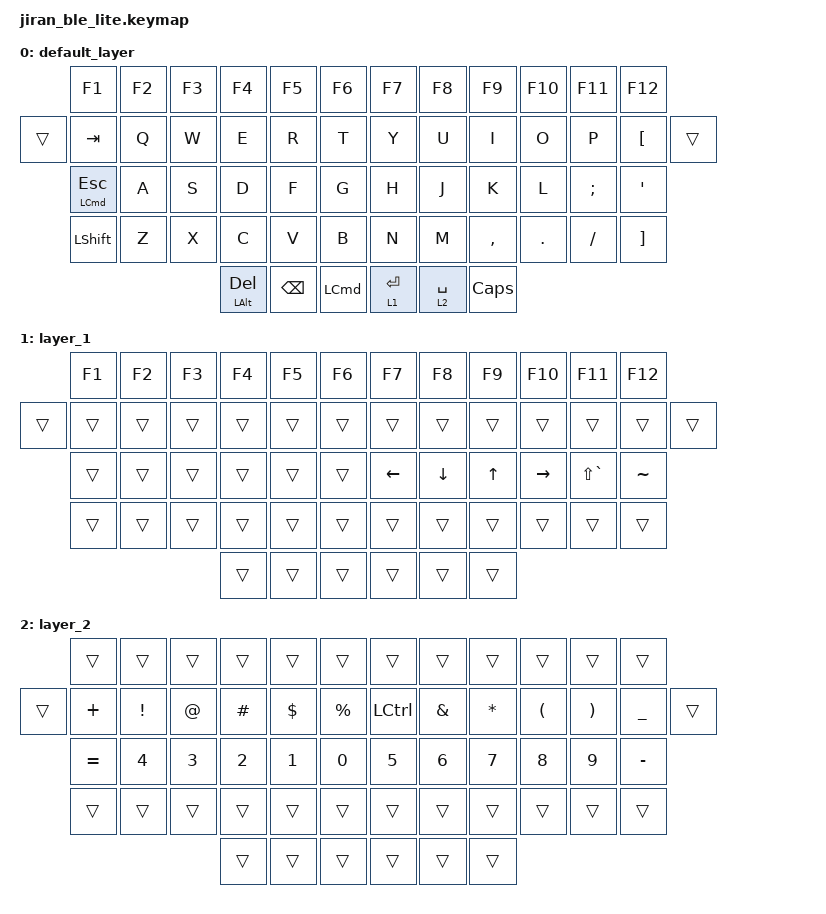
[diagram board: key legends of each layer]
/*
 * Copyright (c) 2021 The ZMK Contributors
 *
 * SPDX-License-Identifier: MIT
 */

#include <behaviors.dtsi>
#include <dt-bindings/zmk/keys.h>
#include <dt-bindings/zmk/bt.h>

/ {
    keymap {
        compatible = "zmk,keymap";

        default_layer {
            // -----------------------------------------------------------------------------------------
            // |  TAB |  Q  |  W  |  E  |  R  |  T  |   |  Y  |  U   |  I  |  O  |  P  | BKSP |
            // | CTRL |  A  |  S  |  D  |  F  |  G  |   |  H  |  J   |  K  |  L  |  ;  |  '   |
            // | SHFT |  Z  |  X  |  C  |  V  |  B  |   |  N  |  M   |  ,  |  .  |  /  | SHFT |
            //                    | GUI | LWR | SPC |   | ENT | RSE  | ALT |

            bindings = <
               &kp F1                &kp F2   &kp F3  &kp F4                &kp F5         &kp F6            &kp F7       &kp F8       &kp F9     &kp F10  &kp F11        &kp F12
        &trans &kp TAB               &kp Q    &kp W   &kp E                 &kp R          &kp T             &kp Y        &kp U        &kp I      &kp O    &kp P          &kp LBKT          &trans
               &mt LEFT_COMMAND ESC  &kp A    &kp S   &kp D                 &kp F          &kp G             &kp H        &kp J        &kp K      &kp L    &kp SEMICOLON  &kp SQT
               &kp LEFT_SHIFT        &kp Z    &kp X   &kp C                 &kp V          &kp B             &kp N        &kp M        &kp COMMA  &kp DOT  &kp FSLH       &kp RIGHT_BRACKET
                                                      &mt LEFT_ALT DELETE   &kp BACKSPACE  &kp LEFT_COMMAND  &lt 1 ENTER  &lt 2 SPACE  &kp CLCK
            >;
        };

        layer_1 {
            // -----------------------------------------------------------------------------------------
            // |  ESC |  1  |  2  |  3  |  4  |  5  |   |  6  |  7  |  8  |  9  |  0  | BKSP |
            // | BTCLR| BT1 | BT2 | BT3 | BT4 | BT5 |   | LFT | DWN |  UP | RGT |     |      |
            // | SHFT |     |     |     |     |     |   |     |     |     |     |     |      |
            //                    | GUI |     | SPC |   | ENT |     | ALT |

            bindings = <
            &kp F1  &kp F2  &kp F3  &kp F4  &kp F5  &kp F6  &kp F7    &kp F8    &kp F9  &kp F10    &kp F11        &kp F12
    &trans  &trans  &trans  &trans  &trans  &trans  &trans  &trans    &trans    &trans  &trans     &trans         &trans     &trans
            &trans  &trans  &trans  &trans  &trans  &trans  &kp LEFT  &kp DOWN  &kp UP  &kp RIGHT  &kp LS(GRAVE)  &kp TILDE
            &trans  &trans  &trans  &trans  &trans  &trans  &trans    &trans    &trans  &trans     &trans         &trans
                                    &trans  &trans  &trans  &trans    &trans    &trans
            >;
        };

        layer_2 {
            bindings = <
            &trans    &trans           &trans        &trans        &trans        &trans       &trans     &trans         &trans        &trans                &trans                 &trans
    &trans  &kp PLUS  &kp EXCLAMATION  &kp AT_SIGN   &kp HASH      &kp DOLLAR    &kp PERCENT  &kp LCTRL  &kp AMPERSAND  &kp ASTERISK  &kp LEFT_PARENTHESIS  &kp RIGHT_PARENTHESIS  &kp UNDERSCORE  &trans
            &kp EQUAL &kp N4           &kp N3        &kp N2        &kp N1        &kp N0       &kp N5     &kp N6         &kp N7        &kp N8                &kp N9                 &kp MINUS
            &trans    &trans           &trans        &trans        &trans        &trans       &trans     &trans         &trans        &trans                &trans                 &trans
                                                     &trans        &trans        &trans       &trans     &trans         &trans

            >;
        };
    };
};
